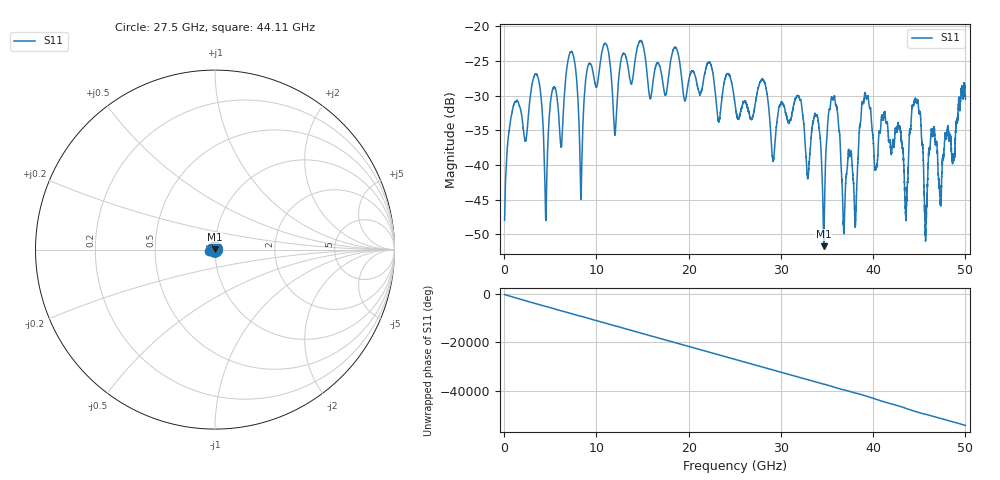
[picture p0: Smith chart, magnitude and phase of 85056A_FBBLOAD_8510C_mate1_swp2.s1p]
!Created with skrf (http://scikit-rf.org).
# Hz S RI R 50.0
!freq ReS11 ImS11
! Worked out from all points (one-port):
!   10001 points, 45 MHz to 50 GHz, reference 50 ohm
!   lowest |S11| = -51.7 dB at 34.64 GHz (marker M1), VSWR 1.01, Z = 49.9 + j0.217 ohm
!   |S11| at or under -10 dB: start of sweep to end of sweep
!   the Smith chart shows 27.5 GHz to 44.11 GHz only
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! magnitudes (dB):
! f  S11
! 45 MHz  -47.9
! 924.2 MHz  -31.9
! 3.337 GHz  -27.0
! 4.496 GHz  -47.8
! 5.28 GHz  -29.0
! 6.289 GHz  -35.7
! 7.204 GHz  -23.7
! 8.323 GHz  -45.0
! 9.162 GHz  -25.5
! 12.01 GHz  -35.7
! 12.53 GHz  -26.0
! 18.78 GHz  -23.6
! 25.02 GHz  -31.2
! 31.27 GHz  -32.2
! 32.92 GHz  -41.8
! 33.88 GHz  -32.8
! 34.64 GHz  -51.7
! 35.61 GHz  -30.6
! 36.78 GHz  -48.8
! 37.51 GHz  -38.5
! 38.09 GHz  -48.0
! 39.26 GHz  -30.5
! 43.76 GHz  -41.9
! 44.45 GHz  -30.9
! 45.7 GHz  -49.2
! 46.43 GHz  -35.8
! 47.27 GHz  -44.9
! 50 GHz  -30.5
